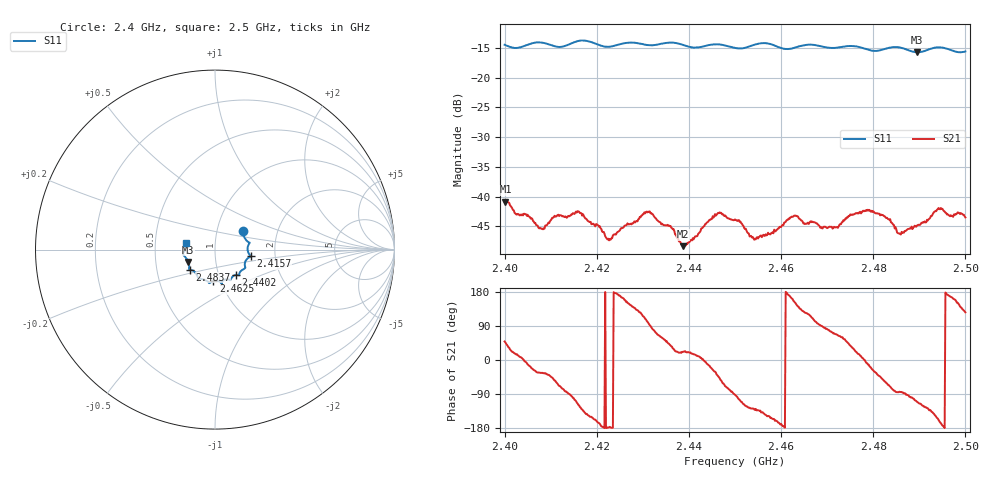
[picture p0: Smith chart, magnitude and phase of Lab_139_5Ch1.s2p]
# Hz S RI R 50
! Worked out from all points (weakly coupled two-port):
!   601 points, 2.4 GHz to 2.5 GHz, reference 50 ohm
!   highest |S21| = -40.89 dB at 2.4002 GHz (marker M1); lowest = -48.4 dB at 2.4387 GHz (marker M2)
!   lowest |S11| = -15.7 dB at 2.4895 GHz (marker M3), VSWR 1.39, Z = 36.8 - j5.15 ohm
!   |S11| at or under -10 dB: start of sweep to end of sweep
!   S12 and S22 are empty: the file has one direction only
!   S11 on the Smith chart (normalised r, x): 2.4 GHz: 1.34, +0.29; 2.4157 GHz: 1.49, -0.11; 2.4402 GHz: 1.20, -0.35; 2.4625 GHz: 0.92, -0.34; 2.4837 GHz: 0.74, -0.17; 2.5 GHz: 0.72, +0.05
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2.4e9  0.1568 0.1055  0.00592 0.00677  0 0  0 0
2.400167e9  0.1568 0.1033  0.00623 0.00653  0 0  0 0
2.407833e9  0.1939 0.0378  0.00446 -0.00303  0 0  0 0
2.415667e9  0.1986 -0.0365  -0.00282 -0.00676  0 0  0 0
2.416667e9  0.2014 -0.0398  -0.00454 -0.00562  0 0  0 0
2.422667e9  0.1674 -0.0707  -0.00427 -0.000142  0 0  0 0
2.430667e9  0.1501 -0.1149  -0.00218 0.00708  0 0  0 0
2.433333e9  0.1359 -0.1335  0.00252 0.0057  0 0  0 0
2.438667e9  0.126 -0.1403  0.00356 0.00139  0 0  0 0
2.440167e9  0.1145 -0.1406  0.00391 0.00139  0 0  0 0
2.446167e9  0.085 -0.1707  0.00549 -0.00464  0 0  0 0
2.45e9  0.0642 -0.1659  -0.000174 -0.00642  0 0  0 0
2.4545e9  0.0372 -0.1868  -0.00275 -0.00339  0 0  0 0
2.4625e9  -0.00978 -0.1765  -0.00637 0.00223  0 0  0 0
2.466667e9  -0.0329 -0.1865  -0.00224 0.00565  0 0  0 0
2.478667e9  -0.1027 -0.1387  0.00752 -0.00112  0 0  0 0
2.483333e9  -0.1381 -0.1121  0.00261 -0.00588  0 0  0 0
2.483667e9  -0.1401 -0.1116  0.00218 -0.00607  0 0  0 0
2.485667e9  -0.1444 -0.1066  0.000523 -0.00485  0 0  0 0
2.4895e9  -0.1484 -0.0682  -0.00199 -0.00532  0 0  0 0
2.494333e9  -0.1783 -0.0242  -0.00745 -0.00254  0 0  0 0
2.5e9  -0.1622 0.0362  -0.0039 0.00541  0 0  0 0
